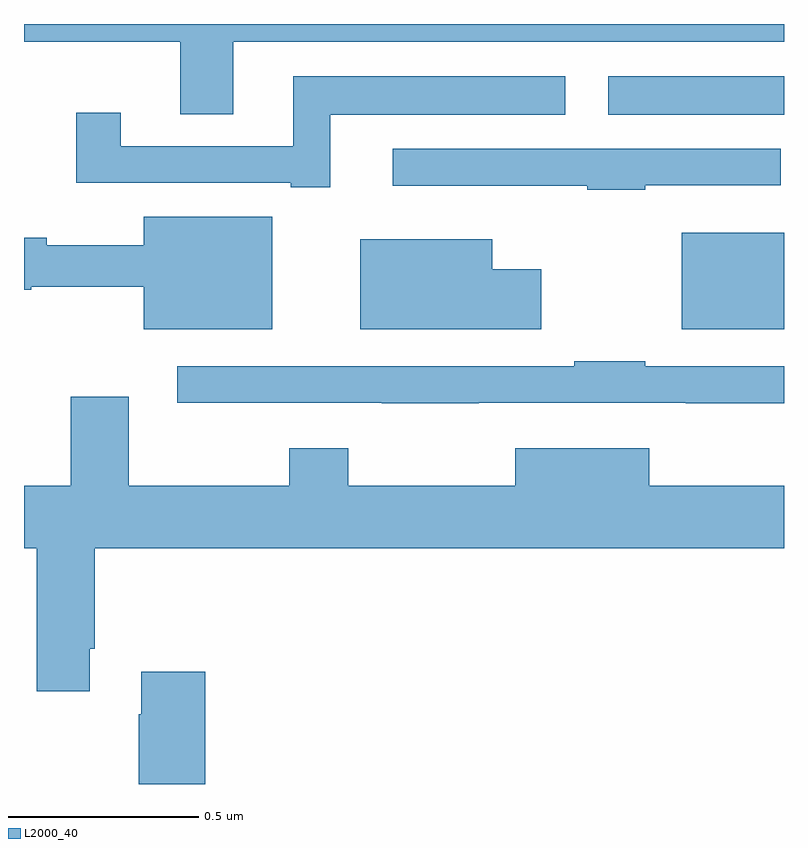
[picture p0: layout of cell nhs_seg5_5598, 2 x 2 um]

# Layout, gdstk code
import gdstk
lib = gdstk.Library(unit=1e-6, precision=1e-09)
def R(c, l, rs):  # rectangles x0, y0, x1, y1
    for r in rs: c.add(gdstk.rectangle(r[:2], r[2:], *l))
def P(c, l, *ps):  # polygons
    for p in ps: c.add(gdstk.Polygon(p, *l))
L2000_40 = (2000, 40)

nhs_seg5_5598 = lib.new_cell('nhs_seg5_5598')
R(nhs_seg5_5598, L2000_40, [(186.731,863.996,187,864.25), (186.537,864.56,187,864.661)])
P(nhs_seg5_5598, L2000_40, [(185.551,864.752),(187,864.752),(187,864.799),(185,864.799),(185,864.752),(185.411,864.752),(185.411,864.562),(185.551,864.562)],
  [(185.806,864.56),(186.424,864.56),(186.424,864.661),(185.708,864.661),(185.708,864.477),(185.254,864.477),(185.254,864.565),(185.137,864.565),(185.137,864.381),(185.702,864.381),(185.702,864.369),(185.806,864.369)],
  [(186.635,864.375),(186.991,864.375),(186.991,864.471),(185.97,864.471),(185.97,864.374),(186.328,864.374),(186.328,864.373),(186.482,864.373),(186.482,864.363),(186.635,864.363)],
  [(185.653,864.292),(185.315,864.292),(185.315,864.217),(185.06,864.217),(185.06,864.236),(185,864.236),(185,864.1),(185.019,864.1),(185.019,864.108),(185.315,864.108),(185.315,863.996),(185.653,863.996)],
  [(186.361,864.154),(186.232,864.154),(186.232,864.232),(185.885,864.232),(185.885,863.996),(186.361,863.996)],
  [(186.197,863.802),(186.742,863.802),(186.742,863.801),(187,863.801),(187,863.898),(186.635,863.898),(186.635,863.911),(186.448,863.911),(186.448,863.898),(185.403,863.898),(185.403,863.802),(185.941,863.802),(185.941,863.801),(186.197,863.801)],
  [(185.173,863.155),(185.186,863.155),(185.186,863.42),(187,863.42),(187,863.584),(186.646,863.584),(186.646,863.683),(186.293,863.683),(186.293,863.584),(185.853,863.584),(185.853,863.683),(185.698,863.683),(185.698,863.584),(185.275,863.584),(185.275,863.818),(185.123,863.818),(185.123,863.584),(185,863.584),(185,863.42),(185.033,863.42),(185.033,863.043),(185.173,863.043)],
  [(185.477,863.095),(185.309,863.095),(185.309,862.982),(185.302,862.982),(185.302,862.799),(185.477,862.799)])

lib.write_gds('nhs_seg5_5598.gds')
